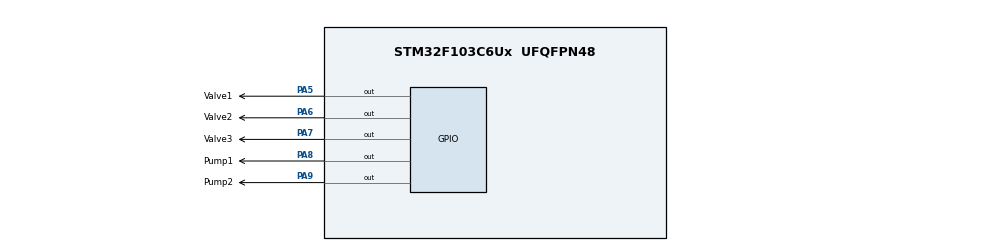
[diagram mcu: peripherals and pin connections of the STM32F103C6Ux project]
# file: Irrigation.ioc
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Mcu.Family=STM32F1
Mcu.Name=STM32F103C6Ux
Mcu.Package=UFQFPN48
NVIC.PriorityGroup=NVIC_PRIORITYGROUP_4
NVIC.TIM2_IRQn=true\:0\:0\:false\:false\:true\:true\:true
PA5.GPIO_Label=Valve1
PA5.Signal=GPIO_Output
PA6.GPIO_Label=Valve2
PA6.Signal=GPIO_Output
PA7.GPIO_Label=Valve3
PA7.Signal=GPIO_Output
PA8.GPIO_Label=Pump1
PA8.Signal=GPIO_Output
PA9.GPIO_Label=Pump2
PA9.Signal=GPIO_Output
ProjectManager.HeapSize=0x200
ProjectManager.StackSize=0x400
ProjectManager.TargetToolchain=STM32CubeIDE
RCC.APB1Freq_Value=8000000
RCC.APB2Freq_Value=8000000
TIM2.Period=9
TIM2.Prescaler=7999
VP_SYS_VS_ND.Mode=No_Debug
VP_TIM2_VS_ClockSourceINT.Mode=Internal
board=custom

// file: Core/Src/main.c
/* USER CODE BEGIN Header */
/**
  ******************************************************************************
  * @file           : main.c
  * @brief          : Main program body
  ******************************************************************************
  * @attention
  *
  * <h2><center>&copy; Copyright (c) 2024 STMicroelectronics.
  * All rights reserved.</center></h2>
  *
  * This software component is licensed by ST under BSD 3-Clause license,
  * the "License"; You may not use this file except in compliance with the
  * License. You may obtain a copy of the License at:
  *                        opensource.org/licenses/BSD-3-Clause
  *
  ******************************************************************************
  */
/* USER CODE END Header */
#include "main.h"
#include "timer_run.h"
#include "fsm.h"

TIM_HandleTypeDef htim2;

void SystemClock_Config(void);
static void MX_GPIO_Init(void);
static void MX_TIM2_Init(void);

/* USER CODE BEGIN 0 */
sTasks SCH_tasks_G[SCH_MAX_TASKS];
uint8_t current_index_task = 0;

void SCH_Init(void){
	current_index_task = 0;
}

void SCH_Add_Task ( void (*pFunction)() , uint32_t DELAY, uint32_t PERIOD){
	if(current_index_task < SCH_MAX_TASKS){

		SCH_tasks_G[current_index_task].pTask = pFunction;
		SCH_tasks_G[current_index_task].Delay = DELAY/10;
		SCH_tasks_G[current_index_task].Period =  PERIOD/10;
		SCH_tasks_G[current_index_task].RunMe = 0;

		SCH_tasks_G[current_index_task].TaskID = current_index_task;

		current_index_task++;
	}
}

void SCH_Update(void){
	for(int i = 0; i < current_index_task; i++){
		if (SCH_tasks_G[i].Delay > 0){
			SCH_tasks_G[i].Delay --;
		}else{
			SCH_tasks_G[i].Delay = SCH_tasks_G[i].Period;
			SCH_tasks_G[i].RunMe += 1;
		}
	}
}
void SCH_Dispatch_Tasks(void){
	for(int i = 0; i < current_index_task; i++){
		if(SCH_tasks_G[i].RunMe > 0){
			SCH_tasks_G[i].RunMe--;
			(*SCH_tasks_G[i].pTask)();
		}
	}
}
/* USER CODE END 0 */

int main(void)
{

  /* MCU Configuration--------------------------------------------------------*/

  /* Reset of all peripherals, Initializes the Flash interface and the Systick. */
  HAL_Init();

  /* Configure the system clock */
  SystemClock_Config();

  /* Initialize all configured peripherals */
  MX_GPIO_Init();
  MX_TIM2_Init();
  /* USER CODE BEGIN 2 */
  HAL_TIM_Base_Start_IT(&htim2) ;
  fsm_irrigation_init();
  SCH_Add_Task(timerRun, 5, 1);
  SCH_Add_Task(fsm_irrigation_run, 5, 1);
  /* USER CODE END 2 */

  /* Infinite loop */
  while (1)
  {
	  SCH_Dispatch_Tasks();
  }
}

void SystemClock_Config(void)
{
  RCC_OscInitTypeDef RCC_OscInitStruct = {0};
  RCC_ClkInitTypeDef RCC_ClkInitStruct = {0};

  /** Initializes the RCC Oscillators according to the specified parameters
  * in the RCC_OscInitTypeDef structure.
  */
  RCC_OscInitStruct.OscillatorType = RCC_OSCILLATORTYPE_HSI;
  RCC_OscInitStruct.HSIState = RCC_HSI_ON;
  RCC_OscInitStruct.HSICalibrationValue = RCC_HSICALIBRATION_DEFAULT;
  RCC_OscInitStruct.PLL.PLLState = RCC_PLL_NONE;
  if (HAL_RCC_OscConfig(&RCC_OscInitStruct) != HAL_OK)
  {
    Error_Handler();
  }
  /** Initializes the CPU, AHB and APB buses clocks
  */
  RCC_ClkInitStruct.ClockType = RCC_CLOCKTYPE_HCLK|RCC_CLOCKTYPE_SYSCLK
                              |RCC_CLOCKTYPE_PCLK1|RCC_CLOCKTYPE_PCLK2;
  RCC_ClkInitStruct.SYSCLKSource = RCC_SYSCLKSOURCE_HSI;
  RCC_ClkInitStruct.AHBCLKDivider = RCC_SYSCLK_DIV1;
  RCC_ClkInitStruct.APB1CLKDivider = RCC_HCLK_DIV1;
  RCC_ClkInitStruct.APB2CLKDivider = RCC_HCLK_DIV1;

  if (HAL_RCC_ClockConfig(&RCC_ClkInitStruct, FLASH_LATENCY_0) != HAL_OK)
  {
    Error_Handler();
  }
}

static void MX_TIM2_Init(void)
{

  TIM_ClockConfigTypeDef sClockSourceConfig = {0};
  TIM_MasterConfigTypeDef sMasterConfig = {0};

  htim2.Instance = TIM2;
  htim2.Init.Prescaler = 7999;
  htim2.Init.CounterMode = TIM_COUNTERMODE_UP;
  htim2.Init.Period = 9;
  htim2.Init.ClockDivision = TIM_CLOCKDIVISION_DIV1;
  htim2.Init.AutoReloadPreload = TIM_AUTORELOAD_PRELOAD_DISABLE;
  if (HAL_TIM_Base_Init(&htim2) != HAL_OK)
  {
    Error_Handler();
  }
  sClockSourceConfig.ClockSource = TIM_CLOCKSOURCE_INTERNAL;
  if (HAL_TIM_ConfigClockSource(&htim2, &sClockSourceConfig) != HAL_OK)
  {
    Error_Handler();
  }
  sMasterConfig.MasterOutputTrigger = TIM_TRGO_RESET;
  sMasterConfig.MasterSlaveMode = TIM_MASTERSLAVEMODE_DISABLE;
  if (HAL_TIMEx_MasterConfigSynchronization(&htim2, &sMasterConfig) != HAL_OK)
  {
    Error_Handler();
  }

}

static void MX_GPIO_Init(void)
{
  GPIO_InitTypeDef GPIO_InitStruct = {0};

  /* GPIO Ports Clock Enable */
  __HAL_RCC_GPIOA_CLK_ENABLE();

  /*Configure GPIO pin Output Level */
  HAL_GPIO_WritePin(GPIOA, Valve1_Pin|Valve2_Pin|Valve3_Pin|Pump1_Pin
                          |Pump2_Pin, GPIO_PIN_RESET);

  /*Configure GPIO pins : Valve1_Pin Valve2_Pin Valve3_Pin Pump1_Pin
                           Pump2_Pin */
  GPIO_InitStruct.Pin = Valve1_Pin|Valve2_Pin|Valve3_Pin|Pump1_Pin
                          |Pump2_Pin;
  GPIO_InitStruct.Mode = GPIO_MODE_OUTPUT_PP;
  GPIO_InitStruct.Pull = GPIO_NOPULL;
  GPIO_InitStruct.Speed = GPIO_SPEED_FREQ_LOW;
  HAL_GPIO_Init(GPIOA, &GPIO_InitStruct);

}

/* USER CODE BEGIN 4 */
void HAL_TIM_PeriodElapsedCallback ( TIM_HandleTypeDef * htim )
{
	SCH_Update();
}
/* USER CODE END 4 */

void Error_Handler(void)
{
  __disable_irq();
  while (1)
  {
  }
}

/************************ (C) COPYRIGHT STMicroelectronics *****END OF FILE****/
